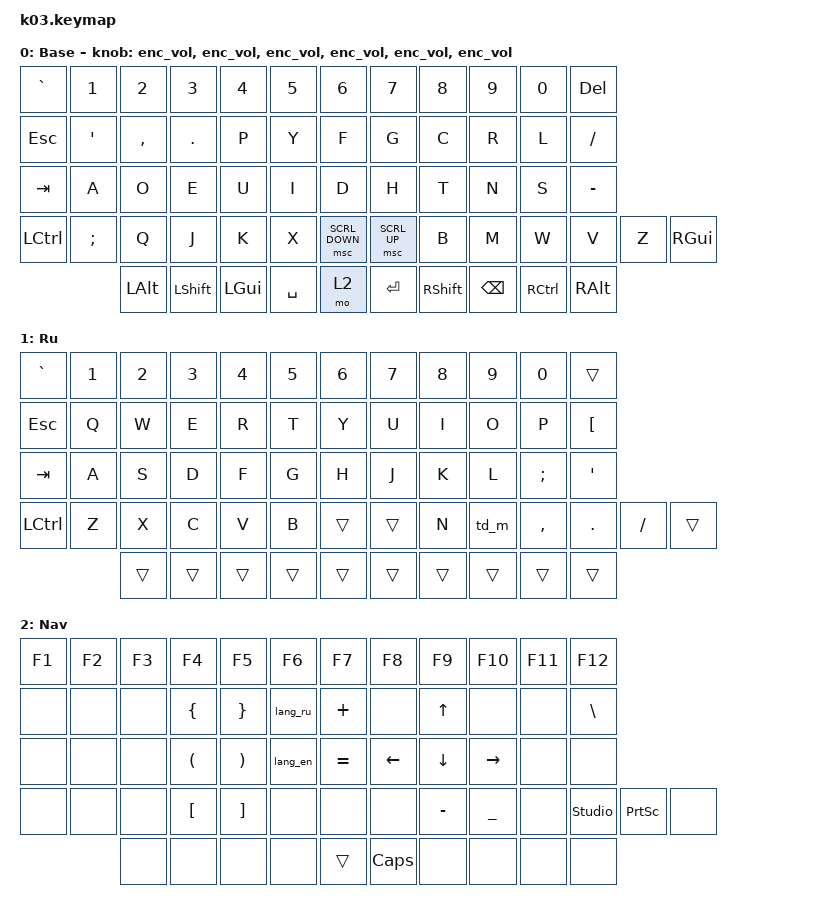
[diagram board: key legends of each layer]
#include "keys_ru.h"
#include <behaviors.dtsi>
#include <dt-bindings/zmk/bt.h>
#include <dt-bindings/zmk/keys.h>
#include <dt-bindings/zmk/outputs.h>
#include <dt-bindings/zmk/pointing.h>

/ {
    behaviors {
        enc_vol: enc_vol {
            compatible = "zmk,behavior-sensor-rotate";
            label = "ENC_VOL";
            #sensor-binding-cells = <0>;
            bindings = <&kp C_VOL_UP>, <&kp C_VOL_DN>;
        };

        td_m: tap_dance_m {
            compatible = "zmk,behavior-tap-dance";
            #binding-cells = <0>;
            tapping-term-ms = <250>;
            bindings = <&kp M>, <&kp RBKT>;
        };

        /* Макрос: Alt+Shift -> Ждем отпускания -> Идем на слой Ru (1) */
        lang_ru: lang_ru {
            compatible = "zmk,behavior-macro";
            #binding-cells = <0>;
            wait-ms = <30>;
            tap-ms = <30>;
            bindings
                = <&macro_press &kp LALT &kp LSHFT>
                , <&macro_pause_for_release>
                , <&macro_release &kp LSHFT &kp LALT>
                , <&macro_tap &to 1>; /* <--- ВОТ ОНО: возвращаем режим Tap для команды слоя */
        };

        /* Макрос: Alt+Shift -> Ждем отпускания -> Возвращаемся на слой Base (0) */
        lang_en: lang_en {
            compatible = "zmk,behavior-macro";
            #binding-cells = <0>;
            wait-ms = <30>;
            tap-ms = <30>;
            bindings
                = <&macro_press &kp LALT &kp LSHFT>
                , <&macro_pause_for_release>
                , <&macro_release &kp LSHFT &kp LALT>
                , <&macro_tap &to 0>; /* <--- Возвращаем режим Tap */
        };
    };

    keymap {
        compatible = "zmk,keymap";

        base {
            display-name = "Base";
            bindings = <
&kp GRAVE &kp N1    &kp N2    &kp N3    &kp N4    &kp N5        &kp N6    &kp N7    &kp N8    &kp N9    &kp N0    &kp DEL
&kp ESC   &kp SQT   &kp COMMA &kp DOT   &kp P     &kp Y         &kp F     &kp G     &kp C     &kp R     &kp L     &kp FSLH
&kp TAB   &kp A     &kp O     &kp E     &kp U     &kp I         &kp D     &kp H     &kp T     &kp N     &kp S     &kp MINUS
&kp LCTRL &kp SEMI  &kp Q     &kp J     &kp K     &kp X &msc SCRL_DOWN  &msc SCRL_UP  &kp B     &kp M     &kp W     &kp V     &kp Z     &kp RGUI
                    &kp LALT  &kp LSHFT &kp LGUI  &kp SPACE &mo 2 &kp RET   &kp RSHFT &kp BSPC  &kp RCTRL &kp RALT
            >;
            sensor-bindings = <&enc_vol>, <&enc_vol>, <&enc_vol>, <&enc_vol>, <&enc_vol>, <&enc_vol>;
        };

        ru {
            display-name = "Ru";
            bindings = <
&kp GRAVE &kp N1    &kp N2    &kp N3    &kp N4    &kp N5        &kp N6    &kp N7    &kp N8    &kp N9    &kp N0    &trans
&kp ESC   &kp Q     &kp W     &kp E     &kp R     &kp T         &kp Y     &kp U     &kp I     &kp O     &kp P     &kp LBKT
&kp TAB   &kp A     &kp S     &kp D     &kp F     &kp G         &kp H     &kp J     &kp K     &kp L     &kp SEMI  &kp SQT
&kp LCTRL &kp Z     &kp X     &kp C     &kp V     &kp B &trans  &trans    &kp N     &td_m     &kp COMMA &kp DOT   &kp FSLH  &trans
                    &trans    &trans    &trans    &trans &trans &trans    &trans    &trans    &trans    &trans
            >;
        };

        nav {
            display-name = "Nav";
            bindings = <
&kp F1    &kp F2    &kp F3    &kp F4    &kp F5    &kp F6        &kp F7    &kp F8    &kp F9    &kp F10   &kp F11   &kp F12
&none     &none     &none     &kp LBRC  &kp RBRC  &lang_ru      &kp PLUS  &none     &kp UP    &none     &none     &kp BSLH
&none     &none     &none     &kp LPAR  &kp RPAR  &lang_en      &kp EQUAL &kp LEFT  &kp DOWN  &kp RIGHT &none     &none
&none     &none     &none     &kp LBKT  &kp RBKT  &none  &none  &none     &kp MINUS &kp UNDER &none     &studio_unlock &kp PRINTSCREEN &none
                    &none     &none     &none     &none  &trans &kp CAPS  &none     &none     &none     &none
            >;
        };
    };
};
